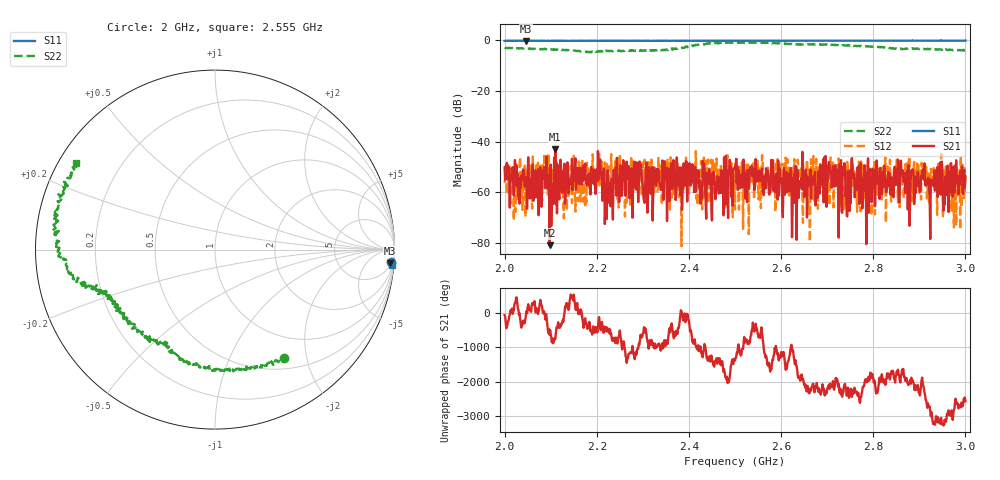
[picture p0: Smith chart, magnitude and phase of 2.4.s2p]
!Agilent Technologies,E8364A,US41440144,A.06.04.32
!Agilent E8364A: A.06.04.32
!Date: Wednesday, January 31, 2018 11:48:58
!Correction: S11(Full 2 Port(1,2)) S21(Full 2 Port(1,2)) S12(Full 2 Port(1,2)) S22(Full 2 Port(1,2))
!S2P File: Measurements: S11, S21, S12, S22:
# Hz S  dB  R 50
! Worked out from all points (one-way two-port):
!   801 points, 2 GHz to 3 GHz, reference 50 ohm
!   highest |S21| = -42.95 dB at 2.11 GHz (marker M1); lowest = -80.9 dB at 2.098 GHz (marker M2)
!   lowest |S11| = -0.2 dB at 2.046 GHz (marker M3), VSWR 90.73, Z = 346 - j1.2e+03 ohm
!   |S11| at or under -10 dB: nowhere
!   |S22| runs from -4.7 to -0.7 dB; largest |S21 - S12| = 0.0086
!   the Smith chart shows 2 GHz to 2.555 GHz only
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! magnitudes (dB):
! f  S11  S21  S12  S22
! 2 GHz  -0.2  -50.2  -56.4  -2.9
! 2.046 GHz  -0.2  -55.4  -63.4  -3.2
! 2.098 GHz  -0.2  -80.9  -62.8  -3.4
! 2.11 GHz  -0.2  -42.9  -52.1  -3.6
! 2.167 GHz  -0.1  -56.9  -47.6  -4.4
! 2.205 GHz  -0.1  -54.8  -44.7  -4.3
! 2.23 GHz  -0.2  -65.6  -54.1  -4.1
! 2.241 GHz  -0.1  -50.2  -58.8  -4.1
! 2.334 GHz  -0.1  -55.5  -46.4  -4.0
! 2.381 GHz  -0.1  -61.1  -53.0  -3.0
! 2.485 GHz  -0.1  -70.1  -53.3  -0.8
! 2.5 GHz  -0.1  -49.9  -66.8  -0.9
! 2.632 GHz  -0.1  -51.7  -49.6  -1.6
! 2.667 GHz  -0.1  -54.7  -62.6  -1.5
! 2.72 GHz  -0.1  -57.4  -48.5  -1.9
! 2.735 GHz  -0.1  -49.9  -62.4  -2.0
! 2.746 GHz  -0.1  -59.0  -58.9  -1.9
! 2.757 GHz  -0.1  -53.1  -55.3  -2.2
! 2.834 GHz  -0.1  -57.2  -55.5  -3.0
! 2.961 GHz  -0.1  -49.5  -50.5  -3.8
! 2.975 GHz  0.0  -52.7  -73.9  -3.7
! 3 GHz  -0.1  -53.7  -52.8  -3.9
